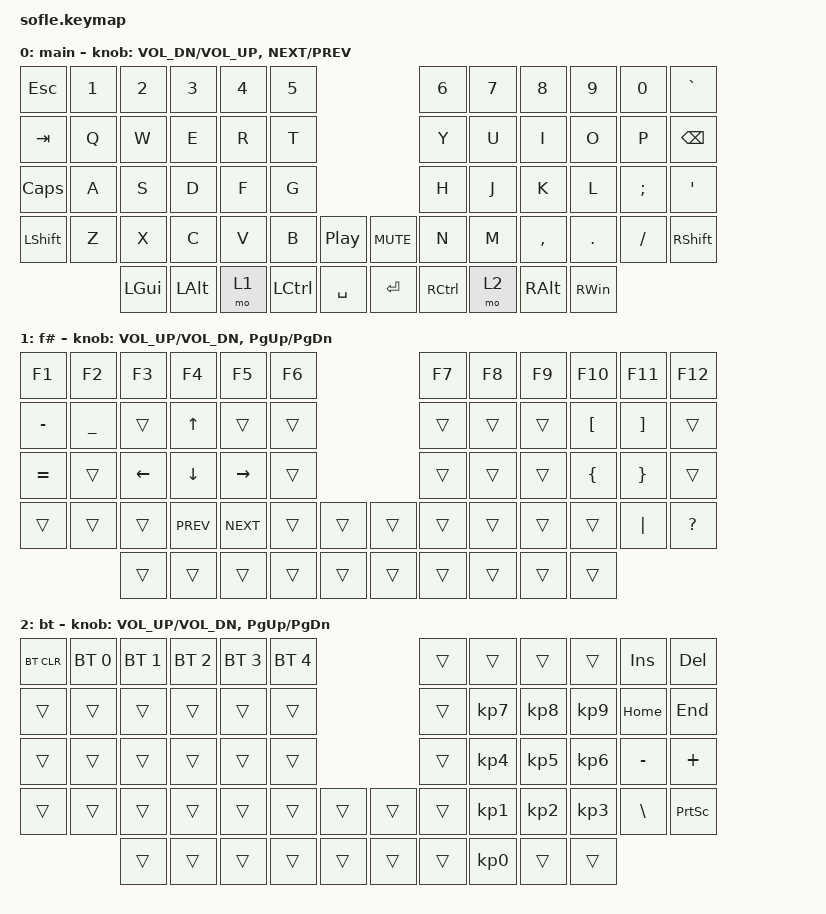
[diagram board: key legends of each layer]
/*
 * Copyright (c) 2020 The ZMK Contributors
 *
 * SPDX-License-Identifier: MIT
 */

#include <behaviors.dtsi>
#include <dt-bindings/zmk/bt.h>
#include <dt-bindings/zmk/keys.h>

/ {
    keymap {
        compatible = "zmk,keymap";

        default_layer {
            display-name = "main";

            // ------------------------------------------------------------------------------------------------------------
            // |  `    |  1  |  2  |  3   |  4   |  5   |                   |  6   |  7    |  8    |  9   |   0   |       |
            // |  ESC  |  Q  |  W  |  E   |  R   |  T   |                   |  Y   |  U    |  I    |  O   |   P   | BKSPC |
            // |  TAB  |  A  |  S  |  D   |  F   |  G   |                   |  H   |  J    |  K    |  L   |   ;   |   '   |
            // | SHIFT |  Z  |  X  |  C   |  V   |  B   |  MUTE  |  |       |  N   |  M    |  ,    |  .   |   /   | SHIFT |
            //               | GUI | ALT  | CTRL | LOWER|  ENTER |  | SPACE | RAISE| CTRL  | ALT   | GUI  |

            bindings = <
&kp ESCAPE    &kp N1  &kp N2        &kp N3    &kp N4  &kp N5                                            &kp N6             &kp N7  &kp N8     &kp N9         &kp N0    &kp GRAVE
&kp TAB       &kp Q   &kp W         &kp E     &kp R   &kp T                                             &kp Y              &kp U   &kp I      &kp O          &kp P     &kp BSPC
&kp CAPSLOCK  &kp A   &kp S         &kp D     &kp F   &kp G                                             &kp H              &kp J   &kp K      &kp L          &kp SEMI  &kp SQT
&kp LSHFT     &kp Z   &kp X         &kp C     &kp V   &kp B             &kp C_PLAY_PAUSE    &kp C_MUTE  &kp N              &kp M   &kp COMMA  &kp DOT        &kp FSLH  &kp RSHFT
                      &kp LEFT_GUI  &kp LALT  &mo 1   &kp LEFT_CONTROL  &kp SPACE           &kp ENTER   &kp RIGHT_CONTROL  &mo 2   &kp RALT   &kp RIGHT_WIN
            >;

            sensor-bindings =
                <&inc_dec_kp C_VOL_DN C_VOL_UP>,
                <&inc_dec_kp K_NEXT K_PREV>;
        };

        lower_layer {
            display-name = "f#";

            // ------------------------------------------------------------------------------------------------------------
            // | `     |  F1 |  F2 |  F3  |  F4  |  F5  |                   |  F6  |  F7   |  F8   |  F9  |  F10  |  F11  |
            // | RAISE |   1 |   2 |   3  |   4  |   5  |                   |   6  |   7   |   8   |   9  |    0  |  F12  |
            // |       |  !  |  @  |  #   |  $   |  %   |                   |  ^   |  &    |  *    |  (   |   )   |   |   |
            // |       |  =  |  -  |  +   |  {   |  }   |        |  |       |  [   |  ]    |  ;    |  :   |   \   |       |
            //               |     |      |      |      |        |  |       |      |       |       |      |

            bindings = <
&kp F1     &kp F2          &kp F3          &kp F4          &kp F5           &kp F6                    &kp F7  &kp F8  &kp F9  &kp F10           &kp F11            &kp F12
&kp MINUS  &kp UNDERSCORE  &trans          &kp UP_ARROW    &trans           &trans                    &trans  &trans  &trans  &kp LEFT_BRACKET  &kp RIGHT_BRACKET  &trans
&kp EQUAL  &trans          &kp LEFT_ARROW  &kp DOWN_ARROW  &kp RIGHT_ARROW  &trans                    &trans  &trans  &trans  &kp LEFT_BRACE    &kp RIGHT_BRACE    &trans
&trans     &trans          &trans          &kp C_PREV      &kp C_NEXT       &trans  &trans    &trans  &trans  &trans  &trans  &trans            &kp PIPE           &kp QUESTION
                           &trans          &trans          &trans           &trans  &trans    &trans  &trans  &trans  &trans  &trans
            >;

            sensor-bindings =
                <&inc_dec_kp C_VOL_UP C_VOL_DN>,
                <&inc_dec_kp PAGE_UP PAGE_DOWN>;
        };

        raise_layer {
            display-name = "bt";

            // ------------------------------------------------------------------------------------------------------------
            // |BTCLR| BT1  | BT2  |  BT3  |  BT4  |  BT5 |                |      |      |       |      |       |       |
            // |     | INS  | PSCR | GUI   |       |      |                | PGUP |      |       |      |       |       |
            // |     | ALT  | CTRL | SHIFT |       | CAPS |                |  <-  |   v  |   ^   |  ->  |  DEL  | BKSPC |
            // |     | UNDO | CUT  | COPY  | PASTE |      |      |  |      |      |      |       |      |       |       |
            //              |      |       |       |      |      |  |      |      |      |       |      |

            bindings = <
&bt BT_CLR  &bt BT_SEL 0  &bt BT_SEL 1  &bt BT_SEL 2  &bt BT_SEL 3  &bt BT_SEL 4                    &trans  &trans           &trans           &trans           &kp INSERT     &kp DELETE
&trans      &trans        &trans        &trans        &trans        &trans                          &trans  &kp KP_NUMBER_7  &kp KP_NUMBER_8  &kp KP_NUMBER_9  &kp HOME       &kp END
&trans      &trans        &trans        &trans        &trans        &trans                          &trans  &kp KP_NUMBER_4  &kp KP_NUMBER_5  &kp KP_NUMBER_6  &kp MINUS      &kp PLUS
&trans      &trans        &trans        &trans        &trans        &trans        &trans    &trans  &trans  &kp KP_NUMBER_1  &kp KP_NUMBER_2  &kp KP_NUMBER_3  &kp BACKSLASH  &kp PRINTSCREEN
                          &trans        &trans        &trans        &trans        &trans    &trans  &trans  &kp KP_NUMBER_0  &trans           &trans
            >;

            sensor-bindings = <&inc_dec_kp C_VOL_UP C_VOL_DN &inc_dec_kp PG_UP PG_DN>;
        };
    };
};
